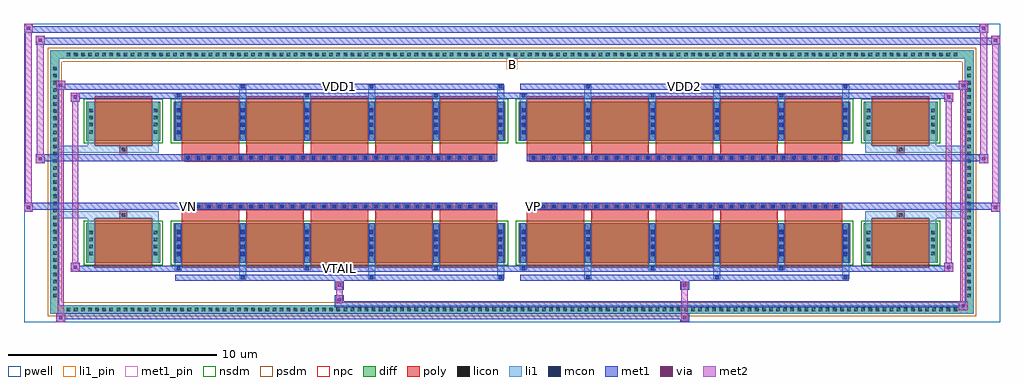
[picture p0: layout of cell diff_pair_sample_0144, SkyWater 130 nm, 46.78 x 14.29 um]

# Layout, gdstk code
import gdstk
lib = gdstk.Library(unit=1e-6, precision=5e-09)
def R(c, l, rs):  # rectangles x0, y0, x1, y1
    for r in rs: c.add(gdstk.rectangle(r[:2], r[2:], *l))
def A(c, l, x, y, w, h, nx, ny, dx, dy):  # array of equal rectangles
    R(c, l, [(x+i*dx, y+j*dy, x+i*dx+w, y+j*dy+h) for i in range(nx) for j in range(ny)])
def P(c, l, *ps):  # polygons
    for p in ps: c.add(gdstk.Polygon(p, *l))
pwell = (64, 44)
diff = (65, 20)
poly = (66, 20)
licon = (66, 44)
li1_pin = (67, 16)
li1 = (67, 20)
mcon = (67, 44)
met1_pin = (68, 16)
met1 = (68, 20)
via = (68, 44)
met2 = (69, 20)
nsdm = (93, 44)
psdm = (94, 20)
npc = (95, 20)

diff_pair_sample_0144 = lib.new_cell('diff_pair_sample_0144')
R(diff_pair_sample_0144, pwell, [(-23.39,-6.71,23.39,7.58), (-20.71,-4.9,-0.01,-0.8), (0.01,-4.9,20.71,-0.8), (-20.71,0.8,-0.01,4.9), (0.01,0.8,20.71,4.9)])
A(diff_pair_sample_0144, diff, -21.455, -6.31, 0.41, 0.41, 126, 2, 0.34, 12.21)
A(diff_pair_sample_0144, diff, -22.12, -5.645, 0.41, 0.41, 1, 33, 0, 0.34)
A(diff_pair_sample_0144, diff, 21.71, -5.645, 0.41, 0.41, 1, 33, 0, 0.34)
R(diff_pair_sample_0144, diff, [(-21.455,-6.31,21.455,-5.9), (-22.12,-5.645,-21.71,5.645), (21.71,-5.645,22.12,5.645), (-20.4,-3.855,-16.86,-1.985), (-16.22,-3.855,-0.32,-1.985), (0.32,-3.855,16.22,-1.985), (16.86,-3.855,20.4,-1.985), (-20.4,1.985,-16.86,3.855), (-16.22,1.985,-0.32,3.855), (0.32,1.985,16.22,3.855), (16.86,1.985,20.4,3.855), (-21.455,5.9,21.455,6.31)])
P(diff_pair_sample_0144, diff, [(22.12,6.31),(-22.12,6.31),(-22.12,-5.9),(-21.71,-5.9),(-21.71,5.9),(21.71,5.9),(21.71,-5.9),(-21.71,-5.9),(-22.12,-5.9),(-22.12,-6.31),(22.12,-6.31)])
A(diff_pair_sample_0144, poly, -15.83, -4.105, 2.76, 2.37, 5, 2, 3.09, 5.84)
A(diff_pair_sample_0144, poly, 0.71, -4.105, 2.76, 2.37, 5, 2, 3.09, 5.84)
A(diff_pair_sample_0144, poly, -15.83, -1.735, 2.76, 0.405, 5, 2, 3.09, 3.065)
A(diff_pair_sample_0144, poly, 0.71, -1.735, 2.76, 0.405, 5, 2, 3.09, 3.065)
A(diff_pair_sample_0144, poly, -15.685, -1.33, 0.33, 0.33, 30, 2, 0.5, 2.33)
A(diff_pair_sample_0144, poly, 0.855, -1.33, 0.33, 0.33, 30, 2, 0.5, 2.33)
R(diff_pair_sample_0144, poly, [(-20.01,-4.105,-17.25,-1.735), (17.25,-4.105,20.01,-1.735), (-18.795,-1.735,-18.465,-1.405), (-18.795,-1.735,-18.465,-1.405), (18.465,-1.735,18.795,-1.405), (18.465,-1.735,18.795,-1.405), (-15.83,-1.33,-0.71,-1), (0.71,-1.33,15.83,-1), (-15.83,1,-0.71,1.33), (0.71,1,15.83,1.33), (-18.795,1.405,-18.465,1.735), (-18.795,1.405,-18.465,1.735), (18.465,1.405,18.795,1.735), (18.465,1.405,18.795,1.735), (-20.01,1.735,-17.25,4.105), (17.25,1.735,20.01,4.105)])
A(diff_pair_sample_0144, licon, -21.335, -6.19, 0.17, 0.17, 126, 2, 0.34, 12.21)
A(diff_pair_sample_0144, licon, -22, -5.525, 0.17, 0.17, 1, 33, 0, 0.34)
A(diff_pair_sample_0144, licon, 21.83, -5.525, 0.17, 0.17, 1, 33, 0, 0.34)
A(diff_pair_sample_0144, licon, -20.26, -3.515, 0.17, 0.17, 1, 4, 0, 0.34)
A(diff_pair_sample_0144, licon, -17.17, -3.515, 0.17, 0.17, 1, 4, 0, 0.34)
A(diff_pair_sample_0144, licon, -16.08, -3.515, 0.17, 0.17, 6, 4, 3.09, 0.34)
A(diff_pair_sample_0144, licon, 0.46, -3.515, 0.17, 0.17, 6, 4, 3.09, 0.34)
A(diff_pair_sample_0144, licon, 17, -3.515, 0.17, 0.17, 1, 4, 0, 0.34)
A(diff_pair_sample_0144, licon, 20.09, -3.515, 0.17, 0.17, 1, 4, 0, 0.34)
A(diff_pair_sample_0144, licon, -15.605, -1.25, 0.17, 0.17, 30, 2, 0.5, 2.33)
A(diff_pair_sample_0144, licon, 0.935, -1.25, 0.17, 0.17, 30, 2, 0.5, 2.33)
A(diff_pair_sample_0144, licon, -20.26, 2.325, 0.17, 0.17, 1, 4, 0, 0.34)
A(diff_pair_sample_0144, licon, -17.17, 2.325, 0.17, 0.17, 1, 4, 0, 0.34)
A(diff_pair_sample_0144, licon, -16.08, 2.325, 0.17, 0.17, 6, 4, 3.09, 0.34)
A(diff_pair_sample_0144, licon, 0.46, 2.325, 0.17, 0.17, 6, 4, 3.09, 0.34)
A(diff_pair_sample_0144, licon, 17, 2.325, 0.17, 0.17, 1, 4, 0, 0.34)
A(diff_pair_sample_0144, licon, 20.09, 2.325, 0.17, 0.17, 1, 4, 0, 0.34)
R(diff_pair_sample_0144, licon, [(-18.715,-1.655,-18.545,-1.485), (18.545,-1.655,18.715,-1.485), (-18.715,1.485,-18.545,1.655), (18.545,1.485,18.715,1.655)])
R(diff_pair_sample_0144, li1_pin, [(-0.25,5.4,0.25,5.9)])
A(diff_pair_sample_0144, li1, -21.415, -6.27, 0.33, 0.33, 126, 2, 0.34, 12.21)
A(diff_pair_sample_0144, li1, -22.08, -5.605, 0.33, 0.33, 1, 33, 0, 0.34)
A(diff_pair_sample_0144, li1, 21.75, -5.605, 0.33, 0.33, 1, 33, 0, 0.34)
A(diff_pair_sample_0144, li1, -13.07, -4.66, 0.33, 0.805, 3, 2, 6.18, 8.515)
A(diff_pair_sample_0144, li1, -12.99, -4.66, 0.17, 0.17, 3, 2, 6.18, 9.15)
A(diff_pair_sample_0144, li1, 3.47, -4.66, 0.33, 0.805, 3, 2, 6.18, 8.515)
A(diff_pair_sample_0144, li1, 3.55, -4.66, 0.17, 0.17, 3, 2, 6.18, 9.15)
A(diff_pair_sample_0144, li1, -16.16, -4.23, 0.33, 0.375, 3, 2, 6.18, 8.085)
A(diff_pair_sample_0144, li1, -16.08, -4.23, 0.17, 0.17, 3, 2, 6.18, 8.29)
A(diff_pair_sample_0144, li1, 0.38, -4.23, 0.33, 0.375, 3, 2, 6.18, 8.085)
A(diff_pair_sample_0144, li1, 0.46, -4.23, 0.17, 0.17, 3, 2, 6.18, 8.29)
A(diff_pair_sample_0144, li1, -16.16, -3.855, 0.33, 1.87, 6, 2, 3.09, 5.84)
A(diff_pair_sample_0144, li1, 0.38, -3.855, 0.33, 1.87, 6, 2, 3.09, 5.84)
A(diff_pair_sample_0144, li1, -20.34, -3.595, 0.33, 0.33, 1, 4, 0, 0.34)
A(diff_pair_sample_0144, li1, -17.25, -3.595, 0.33, 0.33, 1, 4, 0, 0.34)
A(diff_pair_sample_0144, li1, -16.16, -3.595, 0.33, 0.33, 6, 4, 3.09, 0.34)
A(diff_pair_sample_0144, li1, 0.38, -3.595, 0.33, 0.33, 6, 4, 3.09, 0.34)
A(diff_pair_sample_0144, li1, 16.92, -3.595, 0.33, 0.33, 1, 4, 0, 0.34)
A(diff_pair_sample_0144, li1, 20.01, -3.595, 0.33, 0.33, 1, 4, 0, 0.34)
A(diff_pair_sample_0144, li1, -16.08, -3.545, 0.17, 0.17, 6, 4, 3.09, 0.36)
A(diff_pair_sample_0144, li1, -16.08, -3.545, 0.17, 1.25, 6, 2, 3.09, 5.84)
A(diff_pair_sample_0144, li1, 0.46, -3.545, 0.17, 0.17, 6, 4, 3.09, 0.36)
A(diff_pair_sample_0144, li1, 0.46, -3.545, 0.17, 1.25, 6, 2, 3.09, 5.84)
A(diff_pair_sample_0144, li1, -15.685, -1.33, 0.33, 0.33, 30, 2, 0.5, 2.33)
A(diff_pair_sample_0144, li1, 0.855, -1.33, 0.33, 0.33, 30, 2, 0.5, 2.33)
A(diff_pair_sample_0144, li1, -20.34, 2.245, 0.33, 0.33, 1, 4, 0, 0.34)
A(diff_pair_sample_0144, li1, -17.25, 2.245, 0.33, 0.33, 1, 4, 0, 0.34)
A(diff_pair_sample_0144, li1, -16.16, 2.245, 0.33, 0.33, 6, 4, 3.09, 0.34)
A(diff_pair_sample_0144, li1, 0.38, 2.245, 0.33, 0.33, 6, 4, 3.09, 0.34)
A(diff_pair_sample_0144, li1, 16.92, 2.245, 0.33, 0.33, 1, 4, 0, 0.34)
A(diff_pair_sample_0144, li1, 20.01, 2.245, 0.33, 0.33, 1, 4, 0, 0.34)
A(diff_pair_sample_0144, li1, -16.08, 2.295, 0.17, 0.17, 6, 4, 3.09, 0.36)
A(diff_pair_sample_0144, li1, 0.46, 2.295, 0.17, 0.17, 6, 4, 3.09, 0.36)
R(diff_pair_sample_0144, li1, [(-22.12,-6.31,-21.71,-5.9), (-22.12,-6.31,-21.71,-5.9), (-21.71,-6.31,21.71,-5.9), (21.71,-6.31,22.12,-5.9), (21.71,-6.31,22.12,-5.9), (-22.12,-5.9,-21.71,5.9), (21.71,-5.9,22.12,5.9), (-20.34,-3.855,-20.01,-1.985), (-17.25,-3.855,-16.92,-1.985), (16.92,-3.855,17.25,-1.985), (20.01,-3.855,20.34,-1.985), (-20.34,-1.985,-20.01,-1.405), (-17.25,-1.985,-16.92,-1.405), (16.92,-1.985,17.25,-1.405), (20.01,-1.985,20.34,-1.405), (-22.12,-1.735,-18.795,-1.405), (-20.34,-1.735,-18.795,-1.405), (-18.795,-1.735,-18.465,-1.405), (-18.465,-1.735,-16.92,-1.405), (16.92,-1.735,18.465,-1.405), (18.465,-1.735,18.795,-1.405), (18.465,-1.735,22.12,-1.405), (18.795,-1.735,20.34,-1.405), (-22.12,1.405,-18.795,1.735), (-20.34,1.405,-18.795,1.735), (-20.34,1.405,-20.01,1.985), (-18.795,1.405,-18.465,1.735), (-18.465,1.405,-16.92,1.735), (-17.25,1.405,-16.92,1.985), (16.92,1.405,18.465,1.735), (16.92,1.405,17.25,1.985), (18.465,1.405,18.795,1.735), (18.465,1.405,22.12,1.735), (18.795,1.405,20.34,1.735), (20.01,1.405,20.34,1.985), (-20.34,1.985,-20.01,3.855), (-17.25,1.985,-16.92,3.855), (16.92,1.985,17.25,3.855), (20.01,1.985,20.34,3.855), (-22.12,5.9,-21.71,6.31), (-22.12,5.9,-21.71,6.31), (-21.71,5.9,21.71,6.31), (21.71,5.9,22.12,6.31), (21.71,5.9,22.12,6.31)])
A(diff_pair_sample_0144, mcon, -12.99, -4.66, 0.17, 0.17, 3, 2, 6.18, 9.15)
A(diff_pair_sample_0144, mcon, 3.55, -4.66, 0.17, 0.17, 3, 2, 6.18, 9.15)
A(diff_pair_sample_0144, mcon, -16.08, -4.23, 0.17, 0.17, 3, 2, 6.18, 8.29)
A(diff_pair_sample_0144, mcon, 0.46, -4.23, 0.17, 0.17, 3, 2, 6.18, 8.29)
A(diff_pair_sample_0144, mcon, -16.08, -3.545, 0.17, 0.17, 6, 4, 3.09, 0.36)
A(diff_pair_sample_0144, mcon, 0.46, -3.545, 0.17, 0.17, 6, 4, 3.09, 0.36)
A(diff_pair_sample_0144, mcon, -15.605, -1.25, 0.17, 0.17, 30, 2, 0.5, 2.33)
A(diff_pair_sample_0144, mcon, 0.935, -1.25, 0.17, 0.17, 30, 2, 0.5, 2.33)
A(diff_pair_sample_0144, mcon, -16.08, 2.295, 0.17, 0.17, 6, 4, 3.09, 0.36)
A(diff_pair_sample_0144, mcon, 0.46, 2.295, 0.17, 0.17, 6, 4, 3.09, 0.36)
R(diff_pair_sample_0144, met1_pin, [(-8.405,-4.27,-8.135,-4), (-15.655,-1.29,-15.385,-1.02), (0.885,-1.29,1.155,-1.02), (-8.405,4.45,-8.135,4.72), (8.135,4.45,8.405,4.72)])
A(diff_pair_sample_0144, met1, -13.05, -4.72, 0.29, 0.29, 3, 2, 6.18, 9.15)
A(diff_pair_sample_0144, met1, 3.49, -4.72, 0.29, 0.29, 3, 2, 6.18, 9.15)
A(diff_pair_sample_0144, met1, -16.14, -4.29, 0.29, 0.29, 3, 2, 6.18, 8.29)
A(diff_pair_sample_0144, met1, 0.4, -4.29, 0.29, 0.29, 3, 2, 6.18, 8.29)
A(diff_pair_sample_0144, met1, -16.14, -3.855, 0.29, 1.87, 6, 2, 3.09, 5.84)
A(diff_pair_sample_0144, met1, 0.4, -3.855, 0.29, 1.87, 6, 2, 3.09, 5.84)
A(diff_pair_sample_0144, met1, -16.14, -3.605, 0.29, 0.29, 6, 4, 3.09, 0.36)
A(diff_pair_sample_0144, met1, 0.4, -3.605, 0.29, 0.29, 6, 4, 3.09, 0.36)
A(diff_pair_sample_0144, met1, -15.665, -1.31, 0.29, 0.29, 30, 2, 0.5, 2.33)
A(diff_pair_sample_0144, met1, 0.875, -1.31, 0.29, 0.29, 30, 2, 0.5, 2.33)
A(diff_pair_sample_0144, met1, -16.14, 2.235, 0.29, 0.29, 6, 4, 3.09, 0.36)
A(diff_pair_sample_0144, met1, 0.4, 2.235, 0.29, 0.29, 6, 4, 3.09, 0.36)
R(diff_pair_sample_0144, met1, [(-21.85,-6.71,-21.42,-6.28), (8.055,-6.71,8.485,-6.28), (-21.85,-6.57,8.485,-6.28), (21.42,-6.14,21.85,-5.71), (-8.485,-6,21.85,-5.71), (-8.485,-5.86,-8.055,-5.43), (-8.485,-5.15,-8.055,-4.72), (8.055,-5.15,8.485,-4.72), (-16.14,-4.72,-0.4,-4.43), (0.4,-4.72,16.14,-4.43), (-21.14,-4.29,-20.71,-3.86), (-21.14,-4.29,-16.14,-4), (-16.14,-4.29,-0.4,-4), (-0.4,-4.29,0.4,-4), (0.4,-4.29,16.14,-4), (16.14,-4.29,21.14,-4), (20.71,-4.29,21.14,-3.86), (-23.39,-1.43,-22.96,-1), (22.96,-1.43,23.39,-1), (-23.39,-1.33,-0.71,-1), (-15.83,-1.33,-0.71,-1), (0.71,-1.33,15.83,-1), (0.71,-1.33,23.39,-1), (-22.82,0.9,-22.39,1.33), (22.39,0.9,22.82,1.33), (-22.82,1,-15.83,1.33), (-15.83,1,-0.71,1.33), (0.71,1,15.83,1.33), (15.83,1,22.82,1.33), (-21.14,3.86,-20.71,4.29), (20.71,3.86,21.14,4.29), (-21.14,4,-16.14,4.29), (-16.14,4,-0.4,4.29), (-0.4,4,0.4,4.29), (0.4,4,16.14,4.29), (16.14,4,21.14,4.29), (-21.85,4.43,-21.42,4.86), (-21.85,4.43,-16.14,4.72), (-16.14,4.43,-0.4,4.72), (0.4,4.43,16.14,4.72), (16.14,4.43,21.85,4.72), (21.42,4.43,21.85,4.86), (-22.82,6.58,-22.39,7.01), (-22.82,6.58,-20.71,6.91), (-20.71,6.58,20.71,6.91), (20.71,6.58,23.39,6.91), (22.96,6.58,23.39,7.01), (-23.39,7.15,-22.96,7.58), (-23.39,7.15,-20.71,7.48), (-20.71,7.15,20.71,7.48), (20.71,7.15,22.82,7.48), (22.39,7.15,22.82,7.58)])
R(diff_pair_sample_0144, via, [(-21.71,-6.57,-21.56,-6.42), (8.195,-6.57,8.345,-6.42), (21.56,-6,21.71,-5.85), (-8.345,-5.72,-8.195,-5.57), (-8.345,-5.01,-8.195,-4.86), (8.195,-5.01,8.345,-4.86), (-21,-4.15,-20.85,-4), (20.85,-4.15,21,-4), (-23.25,-1.29,-23.1,-1.14), (23.1,-1.29,23.25,-1.14), (-22.68,1.04,-22.53,1.19), (22.53,1.04,22.68,1.19), (-21,4,-20.85,4.15), (20.85,4,21,4.15), (-21.71,4.57,-21.56,4.72), (21.56,4.57,21.71,4.72), (-22.68,6.72,-22.53,6.87), (23.1,6.72,23.25,6.87), (-23.25,7.29,-23.1,7.44), (22.53,7.29,22.68,7.44)])
R(diff_pair_sample_0144, met2, [(-21.85,-6.71,-21.42,-6.28), (-21.78,-6.71,-21.49,4.86), (-21.49,-6.71,-21.42,-6.28), (-21.8,-6.66,-21.47,-6.33), (8.105,-6.66,8.435,-6.33), (8.105,-6.33,8.435,-5.1), (21.42,-6.14,21.85,-5.71), (21.49,-6.14,21.78,4.86), (21.78,-6.14,21.85,-5.71), (21.47,-6.09,21.8,-5.76), (-8.435,-5.81,-8.105,-5.48), (-8.435,-5.48,-8.105,-5.1), (-8.435,-5.1,-8.105,-4.77), (8.105,-5.1,8.435,-4.77), (-21.14,-4.29,-20.71,-3.86), (-21.07,-4.29,-20.78,4.29), (-20.78,-4.29,-20.71,-3.86), (20.71,-4.29,21.14,-3.86), (20.78,-4.29,21.07,4.29), (21.07,-4.29,21.14,-3.86), (-21.09,-4.24,-20.76,-3.91), (20.76,-4.24,21.09,-3.91), (-23.39,-1.43,-22.96,-1), (-23.34,-1.43,-23.01,7.58), (-23.01,-1.43,-22.96,-1), (22.96,-1.43,23.39,-1), (23.01,-1.43,23.34,7.01), (23.34,-1.43,23.39,-1), (-23.34,-1.38,-23.01,-1.05), (23.01,-1.38,23.34,-1.05), (-22.82,0.9,-22.39,1.33), (-22.77,0.9,-22.44,7.01), (-22.44,0.9,-22.39,1.33), (22.39,0.9,22.82,1.33), (22.44,0.9,22.77,7.58), (22.77,0.9,22.82,1.33), (-22.77,0.95,-22.44,1.28), (22.44,0.95,22.77,1.28), (-21.14,3.86,-20.71,4.29), (-20.78,3.86,-20.71,4.29), (20.71,3.86,21.14,4.29), (21.07,3.86,21.14,4.29), (-21.09,3.91,-20.76,4.24), (20.76,3.91,21.09,4.24), (-21.85,4.43,-21.42,4.86), (-21.49,4.43,-21.42,4.86), (21.42,4.43,21.85,4.86), (21.78,4.43,21.85,4.86), (-21.8,4.48,-21.47,4.81), (21.47,4.48,21.8,4.81), (-22.82,6.58,-22.39,7.01), (-22.44,6.58,-22.39,7.01), (22.96,6.58,23.39,7.01), (23.34,6.58,23.39,7.01), (-22.77,6.63,-22.44,6.96), (23.01,6.63,23.34,6.96), (-23.39,7.15,-22.96,7.58), (-23.01,7.15,-22.96,7.58), (22.39,7.15,22.82,7.58), (22.77,7.15,22.82,7.58), (-23.34,7.2,-23.01,7.53), (22.44,7.2,22.77,7.53)])
R(diff_pair_sample_0144, nsdm, [(-20.53,-3.985,-16.73,-1.855), (-16.35,-3.985,-0.19,-1.855), (0.19,-3.985,16.35,-1.855), (16.73,-3.985,20.53,-1.855), (-20.53,1.855,-16.73,3.985), (-16.35,1.855,-0.19,3.985), (0.19,1.855,16.35,3.985), (16.73,1.855,20.53,3.985)])
P(diff_pair_sample_0144, psdm, [(22.25,6.44),(-22.25,6.44),(-22.25,-5.77),(-21.58,-5.77),(-21.58,5.77),(21.58,5.77),(21.58,-5.77),(-21.58,-5.77),(-22.25,-5.77),(-22.25,-6.44),(22.25,-6.44)])
A(diff_pair_sample_0144, npc, -15.705, -1.35, 0.37, 0.37, 30, 2, 0.5, 2.33)
A(diff_pair_sample_0144, npc, 0.835, -1.35, 0.37, 0.37, 30, 2, 0.5, 2.33)
R(diff_pair_sample_0144, npc, [(-18.815,-1.755,-18.445,-1.385), (18.445,-1.755,18.815,-1.385), (-15.705,-1.35,-14.835,-0.98), (-15.705,-1.35,-14.835,-0.98), (-15.205,-1.35,-14.335,-0.98), (-15.205,-1.35,-14.335,-0.98), (-14.705,-1.35,-13.835,-0.98), (-14.705,-1.35,-13.835,-0.98), (-14.205,-1.35,-13.335,-0.98), (-14.205,-1.35,-13.335,-0.98), (-13.705,-1.35,-12.835,-0.98), (-13.705,-1.35,-12.835,-0.98), (-13.205,-1.35,-12.335,-0.98), (-13.205,-1.35,-12.335,-0.98), (-12.705,-1.35,-11.835,-0.98), (-12.705,-1.35,-11.835,-0.98), (-12.205,-1.35,-11.335,-0.98), (-12.205,-1.35,-11.335,-0.98), (-11.705,-1.35,-10.835,-0.98), (-11.705,-1.35,-10.835,-0.98), (-11.205,-1.35,-10.335,-0.98), (-11.205,-1.35,-10.335,-0.98), (-10.705,-1.35,-9.835,-0.98), (-10.705,-1.35,-9.835,-0.98), (-10.205,-1.35,-9.335,-0.98), (-10.205,-1.35,-9.335,-0.98), (-9.705,-1.35,-8.835,-0.98), (-9.705,-1.35,-8.835,-0.98), (-9.205,-1.35,-8.335,-0.98), (-9.205,-1.35,-8.335,-0.98), (-8.705,-1.35,-7.835,-0.98), (-8.705,-1.35,-7.835,-0.98), (-8.205,-1.35,-7.335,-0.98), (-8.205,-1.35,-7.335,-0.98), (-7.705,-1.35,-6.835,-0.98), (-7.705,-1.35,-6.835,-0.98), (-7.205,-1.35,-6.335,-0.98), (-7.205,-1.35,-6.335,-0.98), (-6.705,-1.35,-5.835,-0.98), (-6.705,-1.35,-5.835,-0.98), (-6.205,-1.35,-5.335,-0.98), (-6.205,-1.35,-5.335,-0.98), (-5.705,-1.35,-4.835,-0.98), (-5.705,-1.35,-4.835,-0.98), (-5.205,-1.35,-4.335,-0.98), (-5.205,-1.35,-4.335,-0.98), (-4.705,-1.35,-3.835,-0.98), (-4.705,-1.35,-3.835,-0.98), (-4.205,-1.35,-3.335,-0.98), (-4.205,-1.35,-3.335,-0.98), (-3.705,-1.35,-2.835,-0.98), (-3.705,-1.35,-2.835,-0.98), (-3.205,-1.35,-2.335,-0.98), (-3.205,-1.35,-2.335,-0.98), (-2.705,-1.35,-1.835,-0.98), (-2.705,-1.35,-1.835,-0.98), (-2.205,-1.35,-1.335,-0.98), (-2.205,-1.35,-1.335,-0.98), (-1.705,-1.35,-0.835,-0.98), (-1.705,-1.35,-0.835,-0.98), (0.835,-1.35,1.705,-0.98), (0.835,-1.35,1.705,-0.98), (1.335,-1.35,2.205,-0.98), (1.335,-1.35,2.205,-0.98), (1.835,-1.35,2.705,-0.98), (1.835,-1.35,2.705,-0.98), (2.335,-1.35,3.205,-0.98), (2.335,-1.35,3.205,-0.98), (2.835,-1.35,3.705,-0.98), (2.835,-1.35,3.705,-0.98), (3.335,-1.35,4.205,-0.98), (3.335,-1.35,4.205,-0.98), (3.835,-1.35,4.705,-0.98), (3.835,-1.35,4.705,-0.98), (4.335,-1.35,5.205,-0.98), (4.335,-1.35,5.205,-0.98), (4.835,-1.35,5.705,-0.98), (4.835,-1.35,5.705,-0.98), (5.335,-1.35,6.205,-0.98), (5.335,-1.35,6.205,-0.98), (5.835,-1.35,6.705,-0.98), (5.835,-1.35,6.705,-0.98), (6.335,-1.35,7.205,-0.98), (6.335,-1.35,7.205,-0.98), (6.835,-1.35,7.705,-0.98), (6.835,-1.35,7.705,-0.98), (7.335,-1.35,8.205,-0.98), (7.335,-1.35,8.205,-0.98), (7.835,-1.35,8.705,-0.98), (7.835,-1.35,8.705,-0.98), (8.335,-1.35,9.205,-0.98), (8.335,-1.35,9.205,-0.98), (8.835,-1.35,9.705,-0.98), (8.835,-1.35,9.705,-0.98), (9.335,-1.35,10.205,-0.98), (9.335,-1.35,10.205,-0.98), (9.835,-1.35,10.705,-0.98), (9.835,-1.35,10.705,-0.98), (10.335,-1.35,11.205,-0.98), (10.335,-1.35,11.205,-0.98), (10.835,-1.35,11.705,-0.98), (10.835,-1.35,11.705,-0.98), (11.335,-1.35,12.205,-0.98), (11.335,-1.35,12.205,-0.98), (11.835,-1.35,12.705,-0.98), (11.835,-1.35,12.705,-0.98), (12.335,-1.35,13.205,-0.98), (12.335,-1.35,13.205,-0.98), (12.835,-1.35,13.705,-0.98), (12.835,-1.35,13.705,-0.98), (13.335,-1.35,14.205,-0.98), (13.335,-1.35,14.205,-0.98), (13.835,-1.35,14.705,-0.98), (13.835,-1.35,14.705,-0.98), (14.335,-1.35,15.205,-0.98), (14.335,-1.35,15.205,-0.98), (14.835,-1.35,15.705,-0.98), (14.835,-1.35,15.705,-0.98), (-15.705,0.98,-14.835,1.35), (-15.705,0.98,-14.835,1.35), (-15.205,0.98,-14.335,1.35), (-15.205,0.98,-14.335,1.35), (-14.705,0.98,-13.835,1.35), (-14.705,0.98,-13.835,1.35), (-14.205,0.98,-13.335,1.35), (-14.205,0.98,-13.335,1.35), (-13.705,0.98,-12.835,1.35), (-13.705,0.98,-12.835,1.35), (-13.205,0.98,-12.335,1.35), (-13.205,0.98,-12.335,1.35), (-12.705,0.98,-11.835,1.35), (-12.705,0.98,-11.835,1.35), (-12.205,0.98,-11.335,1.35), (-12.205,0.98,-11.335,1.35), (-11.705,0.98,-10.835,1.35), (-11.705,0.98,-10.835,1.35), (-11.205,0.98,-10.335,1.35), (-11.205,0.98,-10.335,1.35), (-10.705,0.98,-9.835,1.35), (-10.705,0.98,-9.835,1.35), (-10.205,0.98,-9.335,1.35), (-10.205,0.98,-9.335,1.35), (-9.705,0.98,-8.835,1.35), (-9.705,0.98,-8.835,1.35), (-9.205,0.98,-8.335,1.35), (-9.205,0.98,-8.335,1.35), (-8.705,0.98,-7.835,1.35), (-8.705,0.98,-7.835,1.35), (-8.205,0.98,-7.335,1.35), (-8.205,0.98,-7.335,1.35), (-7.705,0.98,-6.835,1.35), (-7.705,0.98,-6.835,1.35), (-7.205,0.98,-6.335,1.35), (-7.205,0.98,-6.335,1.35), (-6.705,0.98,-5.835,1.35), (-6.705,0.98,-5.835,1.35), (-6.205,0.98,-5.335,1.35), (-6.205,0.98,-5.335,1.35), (-5.705,0.98,-4.835,1.35), (-5.705,0.98,-4.835,1.35), (-5.205,0.98,-4.335,1.35), (-5.205,0.98,-4.335,1.35), (-4.705,0.98,-3.835,1.35), (-4.705,0.98,-3.835,1.35), (-4.205,0.98,-3.335,1.35), (-4.205,0.98,-3.335,1.35), (-3.705,0.98,-2.835,1.35), (-3.705,0.98,-2.835,1.35), (-3.205,0.98,-2.335,1.35), (-3.205,0.98,-2.335,1.35), (-2.705,0.98,-1.835,1.35), (-2.705,0.98,-1.835,1.35), (-2.205,0.98,-1.335,1.35), (-2.205,0.98,-1.335,1.35), (-1.705,0.98,-0.835,1.35), (-1.705,0.98,-0.835,1.35), (0.835,0.98,1.705,1.35), (0.835,0.98,1.705,1.35), (1.335,0.98,2.205,1.35), (1.335,0.98,2.205,1.35), (1.835,0.98,2.705,1.35), (1.835,0.98,2.705,1.35), (2.335,0.98,3.205,1.35), (2.335,0.98,3.205,1.35), (2.835,0.98,3.705,1.35), (2.835,0.98,3.705,1.35), (3.335,0.98,4.205,1.35), (3.335,0.98,4.205,1.35), (3.835,0.98,4.705,1.35), (3.835,0.98,4.705,1.35), (4.335,0.98,5.205,1.35), (4.335,0.98,5.205,1.35), (4.835,0.98,5.705,1.35), (4.835,0.98,5.705,1.35), (5.335,0.98,6.205,1.35), (5.335,0.98,6.205,1.35), (5.835,0.98,6.705,1.35), (5.835,0.98,6.705,1.35), (6.335,0.98,7.205,1.35), (6.335,0.98,7.205,1.35), (6.835,0.98,7.705,1.35), (6.835,0.98,7.705,1.35), (7.335,0.98,8.205,1.35), (7.335,0.98,8.205,1.35), (7.835,0.98,8.705,1.35), (7.835,0.98,8.705,1.35), (8.335,0.98,9.205,1.35), (8.335,0.98,9.205,1.35), (8.835,0.98,9.705,1.35), (8.835,0.98,9.705,1.35), (9.335,0.98,10.205,1.35), (9.335,0.98,10.205,1.35), (9.835,0.98,10.705,1.35), (9.835,0.98,10.705,1.35), (10.335,0.98,11.205,1.35), (10.335,0.98,11.205,1.35), (10.835,0.98,11.705,1.35), (10.835,0.98,11.705,1.35), (11.335,0.98,12.205,1.35), (11.335,0.98,12.205,1.35), (11.835,0.98,12.705,1.35), (11.835,0.98,12.705,1.35), (12.335,0.98,13.205,1.35), (12.335,0.98,13.205,1.35), (12.835,0.98,13.705,1.35), (12.835,0.98,13.705,1.35), (13.335,0.98,14.205,1.35), (13.335,0.98,14.205,1.35), (13.835,0.98,14.705,1.35), (13.835,0.98,14.705,1.35), (14.335,0.98,15.205,1.35), (14.335,0.98,15.205,1.35), (14.835,0.98,15.705,1.35), (14.835,0.98,15.705,1.35), (-18.815,1.385,-18.445,1.755), (18.445,1.385,18.815,1.755)])
diff_pair_sample_0144.add(gdstk.Label('VTAIL', (-8.27,-4.135), layer=68, texttype=5))
diff_pair_sample_0144.add(gdstk.Label('VN', (-15.52,-1.155), layer=68, texttype=5))
diff_pair_sample_0144.add(gdstk.Label('VP', (1.02,-1.155), layer=68, texttype=5))
diff_pair_sample_0144.add(gdstk.Label('B', (0,5.65), layer=67, texttype=5))
diff_pair_sample_0144.add(gdstk.Label('VDD2', (8.27,4.585), layer=68, texttype=5))
diff_pair_sample_0144.add(gdstk.Label('VDD1', (-8.27,4.585), layer=68, texttype=5))

lib.write_gds('diff_pair_sample_0144.gds')
